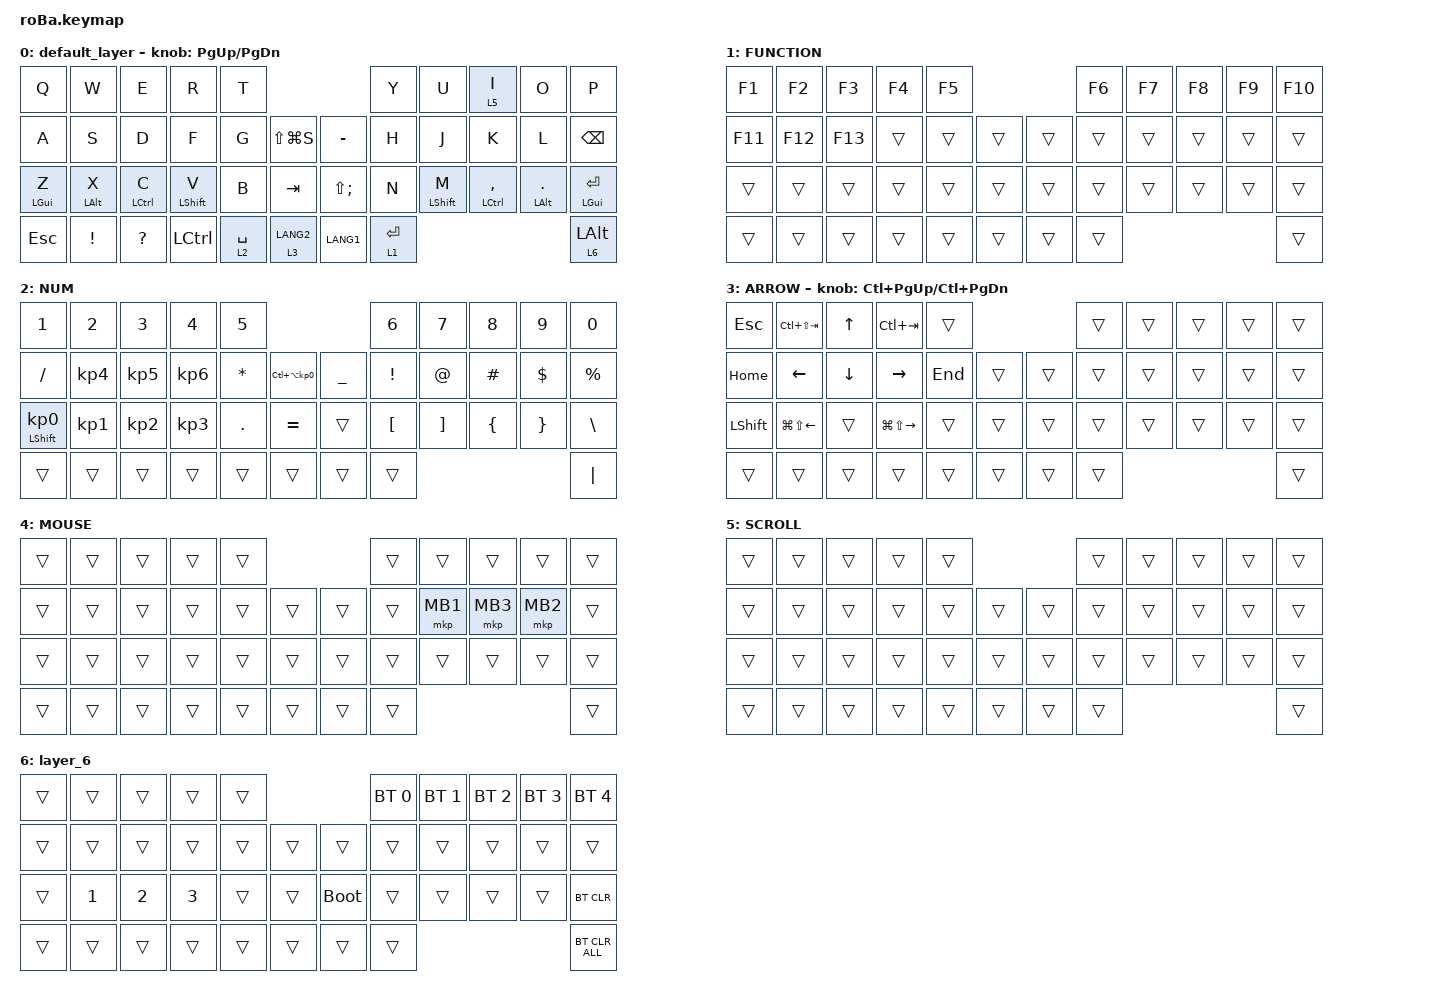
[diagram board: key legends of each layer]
#include <behaviors.dtsi>
#include <dt-bindings/zmk/bt.h>
#include <dt-bindings/zmk/keys.h>
#include <dt-bindings/zmk/pointing.h>

&mt {
    flavor = "balanced";
    quick-tap-ms = <0>;
};

&trackball {
    automouse-layer = <4>;
    scroll-layers = <5>;

    // arrows {
    //     layers = <3>;
    //     bindings =
    //         <&kp RIGHT_ARROW>,
    //         <&kp LEFT_ARROW>,
    //         <&kp UP_ARROW>,
    //         <&kp DOWN_ARROW>;
    //     tick = <10>;
    //     wait-ms = <5>;
    //     tap-ms = <5>;
    // };
};

/ {
    combos {
        compatible = "zmk,combos";

        tab {
            bindings = <&kp TAB>;
            key-positions = <11 12>;
        };

        shift_tab {
            bindings = <&kp LS(TAB)>;
            key-positions = <12 13>;
        };

        muhennkann {
            bindings = <&to_layer_0 INT_MUHENKAN>;
            key-positions = <11 10>;
        };

        double_quotation {
            bindings = <&kp DOUBLE_QUOTES>;
            key-positions = <20 21>;
        };

        eq {
            bindings = <&kp EQUAL>;
            key-positions = <24 25>;
        };
    };

    macros {
        to_layer_0: to_layer_0 {
            compatible = "zmk,behavior-macro-one-param";
            #binding-cells = <1>;
            bindings = <&to 0 &macro_param_1to1 &kp MACRO_PLACEHOLDER>;
            label = "TO_LAYER_0";
        };
    };

    behaviors {
        lt_to_layer_0: lt_to_layer_0 {
            compatible = "zmk,behavior-hold-tap";
            label = "LAYER_TAP_TO_0";
            bindings = <&mo>, <&to_layer_0>;

            #binding-cells = <2>;
            tapping-term-ms = <200>;
        };
    };

    keymap {
        compatible = "zmk,keymap";

        default_layer {
            bindings = <
&kp Q           &kp W            &kp E               &kp R             &kp T                                                       &kp Y        &kp U             &lt 5 I                 &kp O             &kp P
&kp A           &kp S            &kp D               &kp F             &kp G        &kp LS(LG(S))               &kp MINUS          &kp H        &kp J             &kp K                   &kp L             &kp BACKSPACE
&mt LEFT_GUI Z  &mt LEFT_ALT X   &mt LEFT_CONTROL C  &mt LEFT_SHIFT V  &kp B        &kp TAB                     &kp LS(SEMICOLON)  &kp N        &mt LEFT_SHIFT M  &mt LEFT_CONTROL COMMA  &mt LEFT_ALT DOT  &mt LEFT_GUI ENTER
&kp ESC         &kp EXCLAMATION  &kp QUESTION        &kp LEFT_CONTROL  &lt 2 SPACE  &lt_to_layer_0 3 LANG2      &kp LANG1          &lt 1 ENTER                                                              &lt 6 LEFT_ALT
            >;

            sensor-bindings = <&inc_dec_kp PG_UP PAGE_DOWN>;
        };

        FUNCTION {
            bindings = <
&kp F1   &kp F2   &kp F3   &kp F4  &kp F5                      &kp F6  &kp F7  &kp F8  &kp F9  &kp F10
&kp F11  &kp F12  &kp F13  &trans  &trans  &trans      &trans  &trans  &trans  &trans  &trans  &trans
&trans   &trans   &trans   &trans  &trans  &trans      &trans  &trans  &trans  &trans  &trans  &trans
&trans   &trans   &trans   &trans  &trans  &trans      &trans  &trans                          &trans
            >;
        };

        NUM {
            bindings = <
&kp NUMBER_1                &kp NUMBER_2     &kp NUMBER_3     &kp NUMBER_4     &kp NUMBER_5                                               &kp NUMBER_6      &kp NUMBER_7       &kp NUMBER_8    &kp NUMBER_9     &kp NUMBER_0
&kp SLASH                   &kp KP_NUMBER_4  &kp KP_NUMBER_5  &kp KP_NUMBER_6  &kp ASTERISK  &kp LC(LA(KP_NUMBER_0))      &kp UNDERSCORE  &kp EXCLAMATION   &kp AT_SIGN        &kp HASH        &kp DOLLAR       &kp PERCENT
&mt LEFT_SHIFT KP_NUMBER_0  &kp KP_NUMBER_1  &kp KP_NUMBER_2  &kp KP_NUMBER_3  &kp PERIOD    &kp EQUAL                    &trans          &kp LEFT_BRACKET  &kp RIGHT_BRACKET  &kp LEFT_BRACE  &kp RIGHT_BRACE  &kp BACKSLASH
&trans                      &trans           &trans           &trans           &trans        &trans                       &trans          &trans                                                                &kp PIPE
            >;
        };

        ARROW {
            bindings = <
&kp ESCAPE      &kp LC(LS(TAB))         &kp UP_ARROW    &kp LC(TAB)              &trans                       &trans  &trans  &trans  &trans  &trans
&kp HOME        &kp LEFT_ARROW          &kp DOWN_ARROW  &kp RIGHT_ARROW          &kp END  &trans      &trans  &trans  &trans  &trans  &trans  &trans
&kp LEFT_SHIFT  &kp LG(LS(LEFT_ARROW))  &trans          &kp LG(LS(RIGHT_ARROW))  &trans   &trans      &trans  &trans  &trans  &trans  &trans  &trans
&trans          &trans                  &trans          &trans                   &trans   &trans      &trans  &trans                          &trans
            >;

            sensor-bindings = <&inc_dec_kp LC(PAGE_UP) LC(PAGE_DOWN)>;
        };

        MOUSE {
            bindings = <
&trans  &trans  &trans  &trans  &trans                      &trans  &trans    &trans    &trans    &trans
&trans  &trans  &trans  &trans  &trans  &trans      &trans  &trans  &mkp MB1  &mkp MB3  &mkp MB2  &trans
&trans  &trans  &trans  &trans  &trans  &trans      &trans  &trans  &trans    &trans    &trans    &trans
&trans  &trans  &trans  &trans  &trans  &trans      &trans  &trans                                &trans
            >;
        };

        SCROLL {
            bindings = <
&trans  &trans  &trans  &trans  &trans                      &trans  &trans  &trans  &trans  &trans
&trans  &trans  &trans  &trans  &trans  &trans      &trans  &trans  &trans  &trans  &trans  &trans
&trans  &trans  &trans  &trans  &trans  &trans      &trans  &trans  &trans  &trans  &trans  &trans
&trans  &trans  &trans  &trans  &trans  &trans      &trans  &trans                          &trans
            >;
        };

        layer_6 {
            bindings = <
&trans  &trans        &trans        &trans        &trans                           &bt BT_SEL 0  &bt BT_SEL 1  &bt BT_SEL 2  &bt BT_SEL 3  &bt BT_SEL 4
&trans  &trans        &trans        &trans        &trans  &trans      &trans       &trans        &trans        &trans        &trans        &trans
&trans  &kp NUMBER_1  &kp NUMBER_2  &kp NUMBER_3  &trans  &trans      &bootloader  &trans        &trans        &trans        &trans        &bt BT_CLR
&trans  &trans        &trans        &trans        &trans  &trans      &trans       &trans                                                  &bt BT_CLR_ALL
            >;
        };
    };
};
